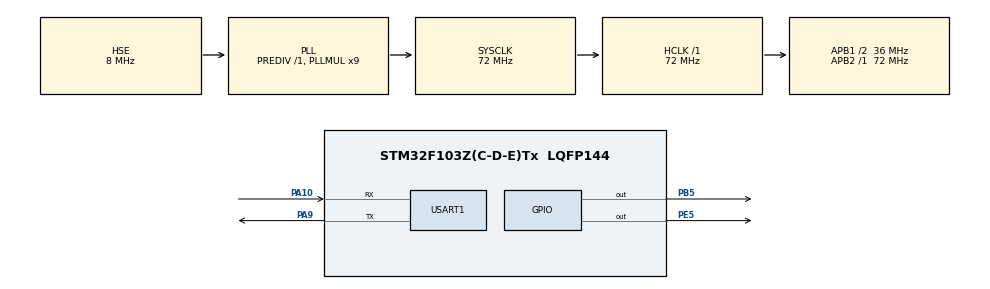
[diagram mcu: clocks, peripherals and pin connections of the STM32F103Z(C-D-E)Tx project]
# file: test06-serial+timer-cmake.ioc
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Mcu.Family=STM32F1
Mcu.Name=STM32F103Z(C-D-E)Tx
Mcu.Package=LQFP144
NVIC.PriorityGroup=NVIC_PRIORITYGROUP_4
NVIC.TIM2_IRQn=true\:0\:0\:false\:false\:true\:true\:true
NVIC.USART1_IRQn=true\:0\:0\:false\:false\:true\:true\:true
OSC_IN.Mode=HSE-External-Oscillator
OSC_IN.Signal=RCC_OSC_IN
OSC_OUT.Mode=HSE-External-Oscillator
OSC_OUT.Signal=RCC_OSC_OUT
PA10.Mode=Asynchronous
PA10.Signal=USART1_RX
PA13.Mode=Serial_Wire
PA13.Signal=SYS_JTMS-SWDIO
PA14.Mode=Serial_Wire
PA14.Signal=SYS_JTCK-SWCLK
PA9.Mode=Asynchronous
PA9.Signal=USART1_TX
PB5.PinState=GPIO_PIN_SET
PB5.Signal=GPIO_Output
PC14-OSC32_IN.Mode=LSE-External-Oscillator
PC14-OSC32_IN.Signal=RCC_OSC32_IN
PC15-OSC32_OUT.Mode=LSE-External-Oscillator
PC15-OSC32_OUT.Signal=RCC_OSC32_OUT
PE5.PinState=GPIO_PIN_SET
PE5.Signal=GPIO_Output
ProjectManager.HeapSize=0x200
ProjectManager.StackSize=0x400
ProjectManager.TargetToolchain=STM32CubeIDE
RCC.AHBFreq_Value=72000000
RCC.APB1CLKDivider=RCC_HCLK_DIV2
RCC.APB1Freq_Value=36000000
RCC.APB1TimFreq_Value=72000000
RCC.APB2Freq_Value=72000000
RCC.APB2TimFreq_Value=72000000
RCC.HCLKFreq_Value=72000000
RCC.PLLMUL=RCC_PLL_MUL9
RCC.PLLSourceVirtual=RCC_PLLSOURCE_HSE
RCC.SYSCLKFreq_VALUE=72000000
RCC.SYSCLKSource=RCC_SYSCLKSOURCE_PLLCLK
RCC.USBFreq_Value=72000000
TIM2.Period=4999
TIM2.Prescaler=7199
USART1.VirtualMode=VM_ASYNC
VP_TIM2_VS_ClockSourceINT.Mode=Internal
board=custom

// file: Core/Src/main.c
/* USER CODE BEGIN Header */
/**
  ******************************************************************************
  * @file           : main.c
  * @brief          : Main program body
  ******************************************************************************
  * @attention
  *
  * <h2><center>&copy; Copyright (c) 2021 STMicroelectronics.
  * All rights reserved.</center></h2>
  *
  * This software component is licensed by ST under BSD 3-Clause license,
  * the "License"; You may not use this file except in compliance with the
  * License. You may obtain a copy of the License at:
  *                        opensource.org/licenses/BSD-3-Clause
  *
  ******************************************************************************
  */
/* USER CODE END Header */
#include "main.h"
#include "tim.h"
#include "usart.h"
#include "gpio.h"

/* USER CODE BEGIN Includes */
#include "stdio.h";
#include "string.h";

#define LED1_ON() HAL_GPIO_WritePin(GPIOB, GPIO_PIN_5, GPIO_PIN_RESET);
#define LED2_ON() HAL_GPIO_WritePin(GPIOE, GPIO_PIN_5, GPIO_PIN_RESET);
#define LED1_OFF() HAL_GPIO_WritePin(GPIOB, GPIO_PIN_5, GPIO_PIN_SET);
#define LED2_OFF() HAL_GPIO_WritePin(GPIOE, GPIO_PIN_5, GPIO_PIN_SET);
#define LED1_TOG() HAL_GPIO_TogglePin(GPIOB, GPIO_PIN_5);
#define LED2_TOG() HAL_GPIO_TogglePin(GPIOE, GPIO_PIN_5);
/* USER CODE END Includes */

/* USER CODE BEGIN PD */
uint8_t str1[] = "==== Ryan欢迎您! ====\r\n";
uint8_t hh = 0, mm = 0, ss = 0, ss05 = 0;
uint8_t str_buff[64];
uint8_t Rx_data[16];

void Check_LED()
{
    LED1_ON();
    HAL_Delay(500);
    LED2_ON();
    HAL_Delay(500);

    LED1_OFF();
    HAL_Delay(500);
    LED2_OFF();
    HAL_Delay(500);
}

void HAL_TIM_PeriodElapsedCallback(TIM_HandleTypeDef *htim)
{
    LED1_TOG();
    ss05++;
    if (ss05 == 2)
    {
        ss05 = 0;
        ss++;
        if (ss == 60)
        {
            ss = 0;
            mm++;
            if (mm = 60)
            {
                mm = 0;
                hh++;
            }
        }
    }
}

void HAL_UART_RxCpltCallback(UART_HandleTypeDef *huart)
{
    if (huart->Instance ==USART1)
    {
        if (Rx_data[0] == 0xBF && Rx_data[2] == 0xFB)
        {
            switch (Rx_data[1]) {
                case 0xA1:
                    LED2_ON();
                    sprintf((char *)str_buff, "%d:%d:%d LED2打开\r\n", hh, mm, ss);
                    break;
                case 0xA2:
                    LED2_OFF();
                    sprintf((char *)str_buff, "%d:%d:%d LED2关闭\r\n", hh, mm, ss);
                    break;
                default:
                    sprintf((char *)str_buff, "%d:%d:%d 这是一个错误的命令\r\n", hh, mm, ss);
                    break;
            }
            HAL_UART_Transmit(&huart1, str_buff, sizeof str_buff, 10000);
            memset(str_buff, 0, sizeof str_buff);
            HAL_UART_Receive_IT(&huart1, Rx_data, 3);
        }
    }
}
/* USER CODE END PD */

void SystemClock_Config(void);

int main(void)
{

  /* MCU Configuration--------------------------------------------------------*/

  /* Reset of all peripherals, Initializes the Flash interface and the Systick. */
  HAL_Init();

  /* Configure the system clock */
  SystemClock_Config();

  /* Initialize all configured peripherals */
  MX_GPIO_Init();
  MX_TIM2_Init();
  MX_USART1_UART_Init();
  /* USER CODE BEGIN 2 */
    Check_LED();
    HAL_UART_Transmit(&huart1, str1, sizeof str1, 10000);
    HAL_TIM_Base_Start_IT(&htim2);
    HAL_UART_Receive_IT(&huart1, Rx_data, 3);
  /* USER CODE END 2 */

  /* Infinite loop */
  while (1)
  {

  }
}

void SystemClock_Config(void)
{
  RCC_OscInitTypeDef RCC_OscInitStruct = {0};
  RCC_ClkInitTypeDef RCC_ClkInitStruct = {0};

  /** Initializes the RCC Oscillators according to the specified parameters
  * in the RCC_OscInitTypeDef structure.
  */
  RCC_OscInitStruct.OscillatorType = RCC_OSCILLATORTYPE_HSE;
  RCC_OscInitStruct.HSEState = RCC_HSE_ON;
  RCC_OscInitStruct.HSEPredivValue = RCC_HSE_PREDIV_DIV1;
  RCC_OscInitStruct.HSIState = RCC_HSI_ON;
  RCC_OscInitStruct.PLL.PLLState = RCC_PLL_ON;
  RCC_OscInitStruct.PLL.PLLSource = RCC_PLLSOURCE_HSE;
  RCC_OscInitStruct.PLL.PLLMUL = RCC_PLL_MUL9;
  if (HAL_RCC_OscConfig(&RCC_OscInitStruct) != HAL_OK)
  {
    Error_Handler();
  }
  /** Initializes the CPU, AHB and APB buses clocks
  */
  RCC_ClkInitStruct.ClockType = RCC_CLOCKTYPE_HCLK|RCC_CLOCKTYPE_SYSCLK
                              |RCC_CLOCKTYPE_PCLK1|RCC_CLOCKTYPE_PCLK2;
  RCC_ClkInitStruct.SYSCLKSource = RCC_SYSCLKSOURCE_PLLCLK;
  RCC_ClkInitStruct.AHBCLKDivider = RCC_SYSCLK_DIV1;
  RCC_ClkInitStruct.APB1CLKDivider = RCC_HCLK_DIV2;
  RCC_ClkInitStruct.APB2CLKDivider = RCC_HCLK_DIV1;

  if (HAL_RCC_ClockConfig(&RCC_ClkInitStruct, FLASH_LATENCY_2) != HAL_OK)
  {
    Error_Handler();
  }
}

void Error_Handler(void)
{
  __disable_irq();
  while (1)
  {
  }
}

/************************ (C) COPYRIGHT STMicroelectronics *****END OF FILE****/
